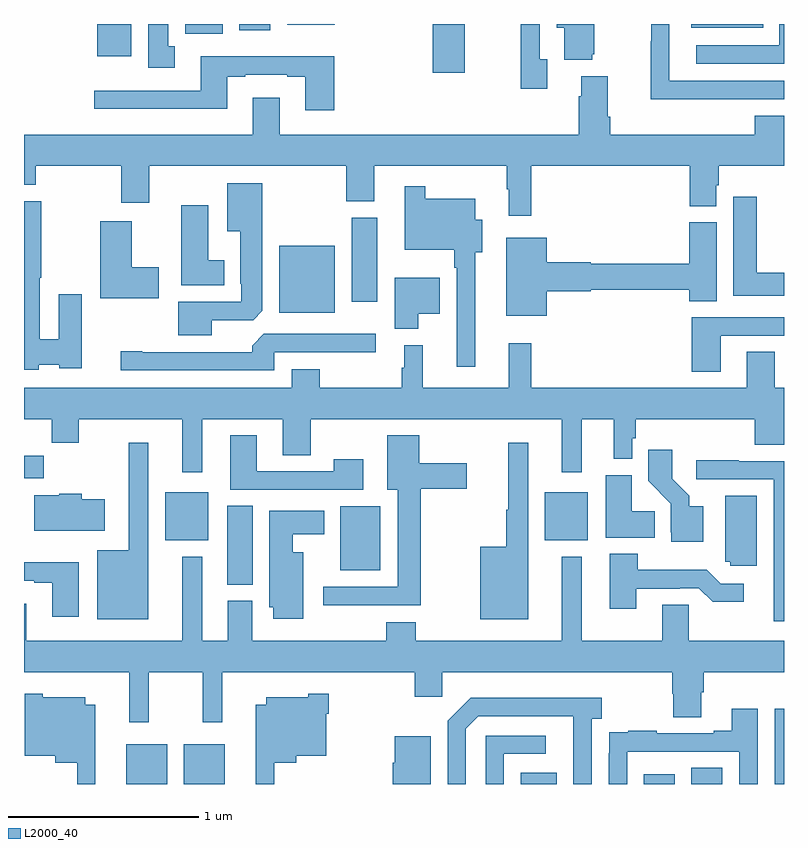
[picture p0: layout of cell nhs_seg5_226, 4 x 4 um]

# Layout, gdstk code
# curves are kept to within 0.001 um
import gdstk
lib = gdstk.Library(unit=1e-6, precision=1e-09)
def R(c, l, rs):  # rectangles x0, y0, x1, y1
    for r in rs: c.add(gdstk.rectangle(r[:2], r[2:], *l))
def P(c, l, *ps):  # polygons
    for p in ps: c.add(gdstk.Polygon(p, *l))
L2000_40 = (2000, 40)

nhs_seg5_226 = lib.new_cell('nhs_seg5_226')
R(nhs_seg5_226, L2000_40, [(123.539,894.799,123.754,895.009), (123.842,894.799,124.057,895.009), (125.615,894.799,125.803,894.859), (126.263,894.799,126.424,894.85), (126.512,894.799,126.676,894.884), (126.951,894.799,127,895.195), (124.07,895.849,124.204,896.264), (124.664,895.925,124.876,896.26), (123.743,896.081,123.97,896.335), (125.741,896.081,125.968,896.335), (123,896.408,123.104,896.527), (124.343,897.278,124.636,897.631), (124.724,897.336,124.858,897.78), (125.15,898.542,125.32,898.799), (123.386,898.628,123.565,898.799), (123.848,898.748,124.045,898.799), (124.133,898.766,124.297,898.799), (126.512,898.778,126.89,898.799), (124.385,898.796,124.636,898.799), (126.111,898.797,126.207,898.799)])
P(nhs_seg5_226, L2000_40, [(126.761,898.404),(127,898.404),(127,898.5),(126.396,898.5),(126.396,898.799),(126.3,898.799),(126.3,898.709),(126.298,898.709),(126.298,898.403),(126.761,898.403)],
  [(125.755,898.614),(125.715,898.614),(125.715,898.799),(125.614,898.799),(125.614,898.458),(125.755,898.458)],
  [(127,898.799),(126.975,898.799),(126.975,898.686),(126.537,898.686),(126.537,898.59),(127,898.59)],
  [(125.99,898.641),(126.001,898.641),(126.001,898.799),(125.804,898.799),(125.804,898.778),(125.843,898.778),(125.843,898.61),(125.99,898.61)],
  [(123.793,898.682),(123.76,898.682),(123.76,898.799),(123.653,898.799),(123.653,898.569),(123.793,898.569)],
  [(124.634,898.63),(123.929,898.63),(123.929,898.449),(123.369,898.449),(123.369,898.352),(124.069,898.352),(124.069,898.521),(124.165,898.521),(124.165,898.533),(124.385,898.533),(124.385,898.521),(124.481,898.521),(124.481,898.344),(124.634,898.344)],
  [(125.669,898.052),(126.503,898.052),(126.503,897.841),(126.643,897.841),(126.643,897.951),(126.656,897.951),(126.656,898.052),(127,898.052),(127,898.315),(126.845,898.315),(126.845,898.216),(126.086,898.216),(126.086,898.312),(126.073,898.312),(126.073,898.525),(125.933,898.525),(125.933,898.418),(125.921,898.418),(125.921,898.216),(124.345,898.216),(124.345,898.411),(124.205,898.411),(124.205,898.216),(123,898.216),(123,897.953),(123.063,897.953),(123.063,898.052),(123.511,898.052),(123.511,897.858),(123.658,897.858),(123.658,898.052),(124.696,898.052),(124.696,897.865),(124.843,897.865),(124.843,898.052),(125.541,898.052),(125.541,897.929),(125.552,897.929),(125.552,897.789),(125.669,897.789)],
  [(123.988,897.24),(124.206,897.24),(124.255,897.289),(124.255,897.961),(124.07,897.961),(124.07,897.707),(124.139,897.707),(124.139,897.433),(124.143,897.433),(124.143,897.336),(123.812,897.336),(123.812,897.161),(123.988,897.161)],
  [(125.374,897.599),(125.413,897.599),(125.413,897.769),(125.374,897.769),(125.374,897.88),(125.113,897.88),(125.113,897.946),(125.004,897.946),(125.004,897.611),(125.265,897.611),(125.265,897.515),(125.277,897.515),(125.277,896.994),(125.374,896.994)],
  [(127,897.49),(126.856,897.49),(126.856,897.889),(126.734,897.889),(126.734,897.368),(127,897.368)],
  [(123.078,897.005),(123.186,897.005),(123.186,896.987),(123.304,896.987),(123.304,897.376),(123.182,897.376),(123.182,897.14),(123.082,897.14),(123.082,897.463),(123.09,897.463),(123.09,897.866),(123,897.866),(123,896.978),(123.078,896.978)],
  [(124.054,897.556),(123.97,897.556),(123.97,897.844),(123.827,897.844),(123.827,897.425),(124.054,897.425)],
  [(123.709,897.519),(123.568,897.519),(123.568,897.76),(123.401,897.76),(123.401,897.356),(123.709,897.356)],
  [(125.752,897.392),(125.982,897.392),(125.982,897.4),(126.5,897.4),(126.5,897.34),(126.646,897.34),(126.646,897.756),(126.5,897.756),(126.5,897.536),(125.982,897.536),(125.982,897.544),(125.752,897.544),(125.752,897.673),(125.537,897.673),(125.537,897.263),(125.752,897.263)],
  [(125.074,897.275),(125.188,897.275),(125.188,897.463),(124.952,897.463),(124.952,897.194),(125.074,897.194)],
  [(126.667,897.159),(127,897.159),(127,897.255),(126.515,897.255),(126.515,896.97),(126.667,896.97)],
  [(124.317,897.072),(124.852,897.072),(124.852,897.168),(124.263,897.168),(124.202,897.106),(124.202,897.072),(123.622,897.072),(123.622,897.077),(123.51,897.077),(123.51,896.976),(124.317,896.976)],
  [(123.937,896.72),(124.361,896.72),(124.361,896.53),(124.509,896.53),(124.509,896.72),(125.831,896.72),(125.831,896.439),(125.935,896.439),(125.935,896.72),(126.104,896.72),(126.104,896.51),(126.201,896.51),(126.201,896.619),(126.221,896.619),(126.221,896.72),(126.845,896.72),(126.845,896.584),(127,896.584),(127,896.884),(126.951,896.884),(126.951,897.074),(126.803,897.074),(126.803,896.884),(125.669,896.884),(125.669,897.118),(125.552,897.118),(125.552,896.884),(125.099,896.884),(125.099,897.109),(125,897.109),(125,896.991),(124.989,896.991),(124.989,896.884),(124.557,896.884),(124.557,896.983),(124.409,896.983),(124.409,896.884),(123,896.884),(123,896.72),(123.145,896.72),(123.145,896.596),(123.289,896.596),(123.289,896.72),(123.833,896.72),(123.833,896.439),(123.937,896.439)],
  [(125.088,896.354),(125.329,896.354),(125.329,896.488),(125.08,896.488),(125.08,896.635),(124.913,896.635),(124.913,896.348),(124.967,896.348),(124.967,895.836),(124.575,895.836),(124.575,895.739),(125.088,895.739)],
  [(124.786,896.509),(124.63,896.509),(124.63,896.445),(124.225,896.445),(124.225,896.635),(124.085,896.635),(124.085,896.349),(124.786,896.349)],
  [(123.655,896.596),(123.551,896.596),(123.551,896.029),(123.386,896.029),(123.386,895.667),(123.655,895.667)],
  [(125.653,896.596),(125.549,896.596),(125.549,896.243),(125.539,896.243),(125.539,896.047),(125.402,896.047),(125.402,895.667),(125.653,895.667)],
  [(126.574,896.26),(126.502,896.26),(126.502,896.315),(126.412,896.405),(126.412,896.557),(126.286,896.557),(126.286,896.394),(126.405,896.275),(126.405,896.124),(126.407,896.124),(126.407,896.075),(126.574,896.075)],
  [(127,896.499),(126.761,896.499),(126.761,896.502),(126.537,896.502),(126.537,896.403),(126.945,896.403),(126.945,895.656),(127,895.656)],
  [(126.32,896.234),(126.199,896.234),(126.199,896.425),(126.062,896.425),(126.062,896.096),(126.32,896.096)],
  [(123.424,896.298),(123.304,896.298),(123.304,896.326),(123.186,896.326),(123.186,896.32),(123.053,896.32),(123.053,896.132),(123.424,896.132)],
  [(126.856,896.317),(126.692,896.317),(126.692,895.968),(126.717,895.968),(126.717,895.947),(126.856,895.947)],
  [(124.471,896.02),(124.414,896.02),(124.414,896.114),(124.579,896.114),(124.579,896.236),(124.292,896.236),(124.292,895.728),(124.313,895.728),(124.313,895.668),(124.471,895.668)],
  [(126.223,895.827),(126.452,895.827),(126.452,895.83),(126.552,895.83),(126.625,895.757),(126.787,895.757),(126.787,895.854),(126.666,895.854),(126.593,895.927),(126.231,895.927),(126.231,896.011),(126.083,896.011),(126.083,895.722),(126.223,895.722)],
  [(123.656,895.388),(123.94,895.388),(123.94,895.125),(124.044,895.125),(124.044,895.388),(125.056,895.388),(125.056,895.257),(125.202,895.257),(125.202,895.388),(126.413,895.388),(126.413,895.275),(126.418,895.275),(126.418,895.15),(126.565,895.15),(126.565,895.282),(126.578,895.282),(126.578,895.388),(127,895.388),(127,895.552),(126.498,895.552),(126.498,895.742),(126.359,895.742),(126.359,895.552),(125.935,895.552),(125.935,895.996),(125.831,895.996),(125.831,895.552),(125.061,895.552),(125.061,895.651),(124.906,895.651),(124.906,895.552),(124.201,895.552),(124.201,895.764),(124.073,895.764),(124.073,895.552),(123.937,895.552),(123.937,895.996),(123.833,895.996),(123.833,895.552),(123.013,895.552),(123.013,895.747),(123,895.747),(123,895.388),(123.553,895.388),(123.553,895.125),(123.656,895.125)],
  [(123.289,895.966),(123,895.966),(123,895.869),(123.053,895.869),(123.053,895.857),(123.149,895.857),(123.149,895.68),(123.289,895.68)],
  [(123.376,895.216),(123.322,895.216),(123.322,895.255),(123.099,895.255),(123.099,895.273),(123.005,895.273),(123.005,894.947),(123.164,894.947),(123.164,894.911),(123.279,894.911),(123.279,894.799),(123.376,894.799)],
  [(124.317,894.911),(124.432,894.911),(124.432,894.947),(124.591,894.947),(124.591,895.169),(124.605,895.169),(124.605,895.273),(124.497,895.273),(124.497,895.255),(124.274,895.255),(124.274,895.216),(124.22,895.216),(124.22,894.799),(124.317,894.799)],
  [(125.325,895.089),(125.391,895.155),(125.891,895.155),(125.892,894.799),(125.988,894.799),(125.988,895.142),(126.04,895.142),(126.04,895.252),(125.35,895.252),(125.229,895.131),(125.229,894.799),(125.325,894.799)],
  [(126.174,894.969),(126.765,894.969),(126.765,894.799),(126.861,894.799),(126.861,895.195),(126.725,895.195),(126.725,895.078),(126.629,895.078),(126.629,895.065),(126.329,895.065),(126.329,895.078),(126.181,895.078),(126.181,895.071),(126.079,895.071),(126.079,894.962),(126.078,894.962),(126.078,894.799),(126.174,894.799)],
  [(125.526,894.957),(125.746,894.957),(125.746,895.053),(125.43,895.053),(125.43,894.799),(125.526,894.799)],
  [(125.14,895.051),(124.952,895.051),(124.952,894.912),(124.94,894.912),(124.94,894.799),(125.14,894.799)])

lib.write_gds('nhs_seg5_226.gds')
